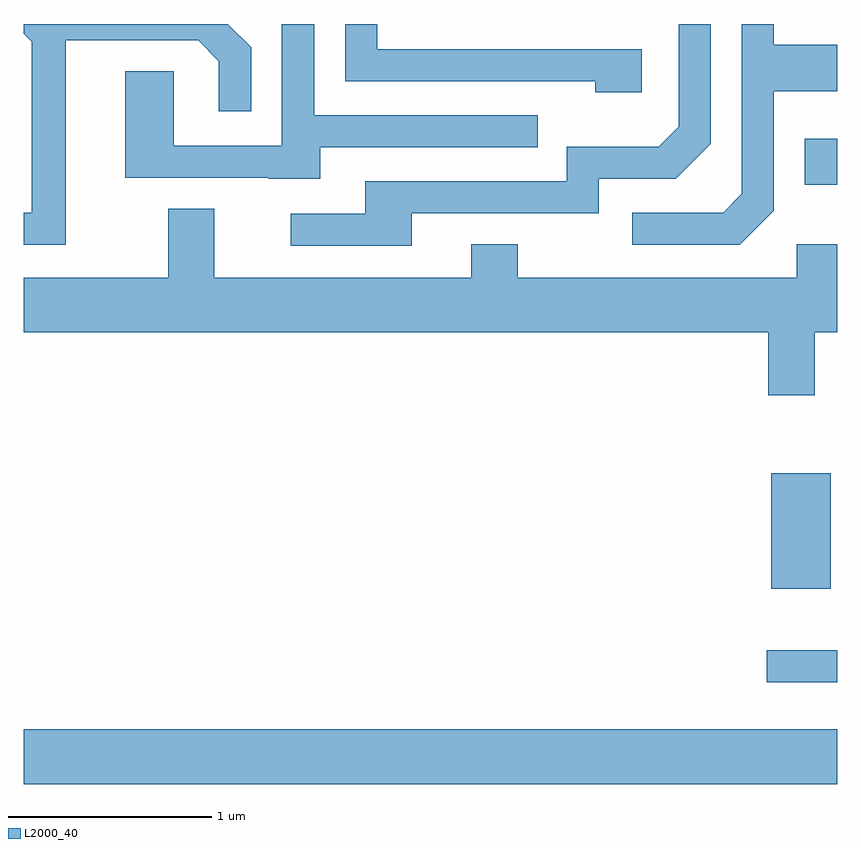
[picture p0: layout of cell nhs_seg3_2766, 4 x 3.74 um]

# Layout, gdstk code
import gdstk
lib = gdstk.Library(unit=1e-6, precision=1e-09)
def R(c, l, rs):  # rectangles x0, y0, x1, y1
    for r in rs: c.add(gdstk.rectangle(r[:2], r[2:], *l))
def P(c, l, *ps):  # polygons
    for p in ps: c.add(gdstk.Polygon(p, *l))
L2000_40 = (2000, 40)

nhs_seg3_2766 = lib.new_cell('nhs_seg3_2766')
R(nhs_seg3_2766, L2000_40, [(265.611,1208.156,269.611,1208.424), (269.263,1208.656,269.611,1208.814), (269.286,1209.116,269.579,1209.684), (269.451,1211.101,269.611,1211.329)])
P(nhs_seg3_2766, L2000_40, [(269.299,1210.974),(269.299,1211.561),(269.611,1211.561),(269.611,1211.789),(269.299,1211.789),(269.299,1211.892),(269.141,1211.892),(269.141,1211.057),(269.049,1210.964),(268.603,1210.964),(268.603,1210.806),(269.132,1210.806)],
  [(267.519,1210.961),(268.439,1210.961),(268.439,1211.131),(268.817,1211.131),(268.989,1211.304),(268.989,1211.892),(268.831,1211.892),(268.831,1211.387),(268.734,1211.289),(268.281,1211.289),(268.281,1211.119),(267.291,1211.119),(267.291,1210.959),(266.923,1210.959),(266.923,1210.801),(267.519,1210.801)],
  [(268.649,1211.769),(267.349,1211.769),(267.349,1211.892),(267.191,1211.892),(267.191,1211.611),(268.421,1211.611),(268.421,1211.556),(268.649,1211.556)],
  [(267.069,1211.286),(268.138,1211.286),(268.138,1211.444),(267.039,1211.444),(267.039,1211.892),(266.881,1211.892),(266.881,1211.294),(266.349,1211.294),(266.349,1211.659),(266.111,1211.659),(266.111,1211.136),(266.815,1211.136),(266.815,1211.131),(267.069,1211.131)],
  [(265.819,1211.811),(266.469,1211.811),(266.571,1211.709),(266.571,1211.463),(266.729,1211.463),(266.729,1211.777),(266.614,1211.892),(265.611,1211.892),(265.611,1211.844),(265.651,1211.804),(265.651,1210.964),(265.611,1210.964),(265.611,1210.806),(265.819,1210.806)],
  [(269.499,1210.376),(269.611,1210.376),(269.611,1210.809),(269.411,1210.809),(269.411,1210.644),(268.039,1210.644),(268.039,1210.809),(267.811,1210.809),(267.811,1210.644),(266.549,1210.644),(266.549,1210.984),(266.321,1210.984),(266.321,1210.644),(265.611,1210.644),(265.611,1210.376),(269.271,1210.376),(269.271,1210.066),(269.499,1210.066)])

lib.write_gds('nhs_seg3_2766.gds')
